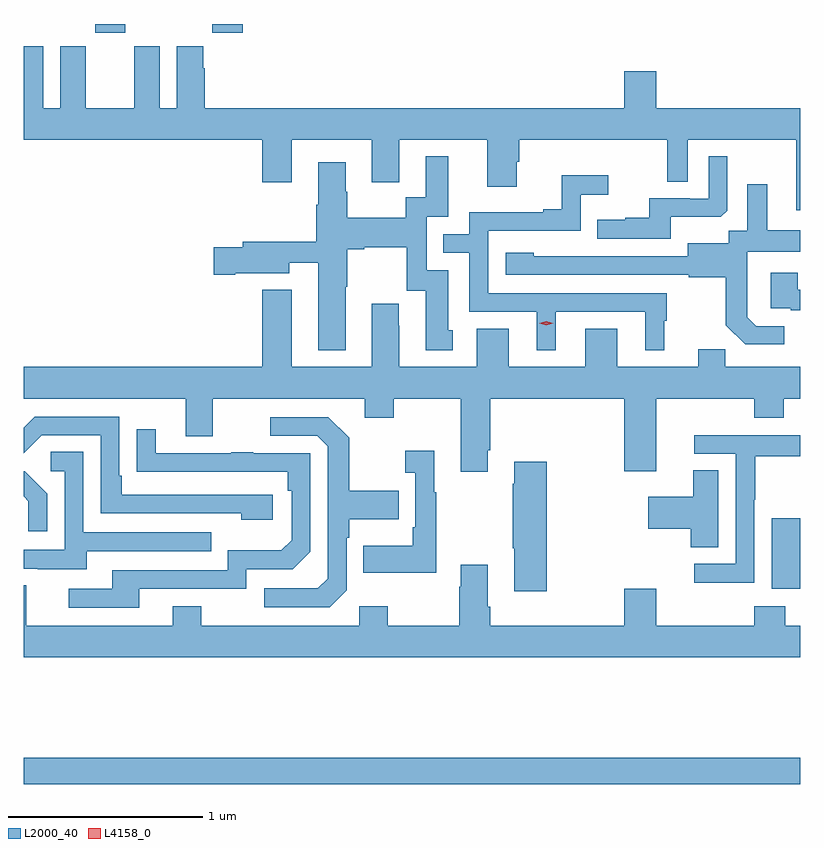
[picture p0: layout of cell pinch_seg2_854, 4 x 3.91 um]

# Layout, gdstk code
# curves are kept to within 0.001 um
import gdstk
lib = gdstk.Library(unit=1e-6, precision=1e-09)
def R(c, l, rs):  # rectangles x0, y0, x1, y1
    for r in rs: c.add(gdstk.rectangle(r[:2], r[2:], *l))
def P(c, l, *ps):  # polygons
    for p in ps: c.add(gdstk.Polygon(p, *l))
L2000_40 = (2000, 40)
L4158_0 = (4158, 0)

pinch_seg2_854 = lib.new_cell('pinch_seg2_854')
R(pinch_seg2_854, L2000_40, [(605.471,608.356,609.471,608.492), (609.323,609.362,609.471,609.723), (605.839,612.225,605.994,612.269), (606.443,612.225,606.599,612.269)])
P(pinch_seg2_854, L2000_40, [(605.471,612.154),(605.471,611.672),(606.701,611.672),(606.701,611.454),(606.853,611.454),(606.853,611.672),(607.265,611.672),(607.265,611.454),(607.405,611.454),(607.405,611.672),(607.859,611.672),(607.859,611.43),(608.011,611.43),(608.011,611.559),(608.024,611.559),(608.024,611.672),(608.784,611.672),(608.784,611.458),(608.892,611.458),(608.892,611.672),(609.449,611.672),(609.449,611.31),(609.471,611.31),(609.471,611.836),(608.728,611.836),(608.728,612.025),(608.564,612.025),(608.564,611.836),(606.404,611.836),(606.404,612.041),(606.397,612.041),(606.397,612.154),(606.26,612.154),(606.26,611.836),(606.172,611.836),(606.172,612.154),(606.041,612.154),(606.041,611.836),(605.791,611.836),(605.791,612.154),(605.66,612.154),(605.66,611.836),(605.572,611.836),(605.572,612.154)],
  [(608.803,611.276),(609.061,611.276),(609.093,611.307),(609.093,611.587),(609,611.587),(609,611.37),(608.9,611.37),(608.9,611.373),(608.693,611.373),(608.693,611.272),(608.569,611.272),(608.569,611.26),(608.425,611.26),(608.425,611.163),(608.803,611.163)],
  [(607.129,610.915),(607.137,610.915),(607.137,611.108),(607.225,611.108),(607.225,611.12),(607.445,611.12),(607.445,610.896),(607.541,610.896),(607.541,610.59),(607.681,610.59),(607.681,610.692),(607.657,610.692),(607.657,611.001),(607.548,611.001),(607.548,611.277),(607.657,611.277),(607.657,611.587),(607.541,611.587),(607.541,611.378),(607.44,611.378),(607.44,611.272),(607.137,611.272),(607.137,611.406),(607.129,611.406),(607.129,611.557),(606.989,611.557),(606.989,611.339),(606.977,611.339),(606.977,611.149),(606.599,611.149),(606.599,611.12),(606.45,611.12),(606.45,610.978),(606.562,610.978),(606.562,610.985),(606.838,610.985),(606.838,611.039),(606.989,611.039),(606.989,610.589),(607.129,610.589)],
  [(608.212,610.788),(608.672,610.788),(608.672,610.589),(608.77,610.589),(608.77,610.74),(608.782,610.74),(608.782,610.884),(607.863,610.884),(607.863,611.205),(608.34,611.205),(608.34,611.39),(608.482,611.39),(608.482,611.489),(608.242,611.489),(608.242,611.314),(608.147,611.314),(608.147,611.301),(607.767,611.301),(607.767,611.187),(607.633,611.187),(607.633,611.091),(607.767,611.091),(607.767,610.788),(608.114,610.788),(608.114,610.589),(608.212,610.589)],
  [(609.388,610.713),(609.243,610.713),(609.196,610.76),(609.196,610.855),(609.198,610.855),(609.198,611.096),(609.471,611.096),(609.471,611.206),(609.301,611.206),(609.301,611.443),(609.197,611.443),(609.197,611.204),(609.102,611.204),(609.102,611.14),(608.891,611.14),(608.891,611.073),(608.097,611.074),(608.097,611.092),(607.953,611.092),(607.953,610.977),(608.895,610.977),(608.895,610.965),(609.087,610.965),(609.087,610.719),(609.187,610.619),(609.388,610.619)],
  [(609.471,610.902),(609.457,610.902),(609.457,610.987),(609.317,610.987),(609.317,610.806),(609.421,610.806),(609.421,610.794),(609.471,610.794)],
  [(607.861,610.075),(607.874,610.075),(607.874,610.34),(608.564,610.34),(608.564,609.966),(608.728,609.966),(608.728,610.34),(609.233,610.34),(609.233,610.241),(609.385,610.241),(609.385,610.34),(609.471,610.34),(609.471,610.504),(609.083,610.504),(609.083,610.595),(608.945,610.595),(608.945,610.504),(608.527,610.504),(608.527,610.699),(608.363,610.699),(608.363,610.504),(607.969,610.504),(607.969,610.699),(607.805,610.699),(607.805,610.504),(607.405,610.504),(607.405,610.715),(607.402,610.715),(607.402,610.828),(607.265,610.828),(607.265,610.504),(606.853,610.504),(606.853,610.9),(606.701,610.9),(606.701,610.504),(605.471,610.504),(605.471,610.34),(606.305,610.34),(606.305,610.146),(606.445,610.146),(606.445,610.34),(607.229,610.34),(607.229,610.241),(607.377,610.241),(607.377,610.34),(607.721,610.34),(607.721,609.963),(607.861,609.963)],
  [(606.754,609.846),(605.977,609.846),(605.977,609.943),(605.964,609.943),(605.964,610.248),(605.529,610.248),(605.471,610.19),(605.471,610.058),(605.565,610.152),(605.868,610.152),(605.868,609.75),(606.593,609.75),(606.593,609.716),(606.754,609.716)],
  [(607.134,609.354),(607.134,609.623),(607.147,609.623),(607.147,609.719),(607.403,609.719),(607.403,609.867),(607.147,609.867),(607.147,610.139),(607.041,610.245),(606.741,610.245),(606.741,610.149),(606.984,610.149),(607.038,610.095),(607.038,609.414),(606.987,609.363),(606.711,609.363),(606.711,609.267),(607.047,609.267)],
  [(606.067,609.36),(606.618,609.36),(606.618,609.462),(606.858,609.462),(606.948,609.552),(606.948,610.059),(606.653,610.059),(606.653,610.064),(606.541,610.064),(606.541,610.059),(606.151,610.059),(606.151,610.183),(606.055,610.183),(606.055,609.964),(606.832,609.963),(606.832,609.866),(606.852,609.866),(606.852,609.612),(606.799,609.559),(606.522,609.559),(606.522,609.456),(605.927,609.456),(605.927,609.36),(605.703,609.36),(605.703,609.264),(606.067,609.264)],
  [(609.234,609.82),(609.237,609.82),(609.237,610.044),(609.471,610.044),(609.471,610.152),(608.925,610.152),(608.925,610.056),(609.138,610.056),(609.138,609.489),(608.925,609.489),(608.925,609.391),(609.234,609.391)],
  [(607.597,609.859),(607.585,609.859),(607.585,610.072),(607.437,610.072),(607.437,609.959),(607.488,609.959),(607.488,609.679),(607.476,609.679),(607.476,609.583),(607.219,609.583),(607.219,609.443),(607.597,609.443)],
  [(605.797,609.555),(606.437,609.555),(606.437,609.651),(605.778,609.651),(605.778,610.067),(605.61,610.067),(605.61,609.966),(605.682,609.966),(605.682,609.561),(605.471,609.561),(605.471,609.465),(605.543,609.465),(605.543,609.461),(605.797,609.461)],
  [(608.165,610.015),(607.997,610.015),(607.997,609.902),(607.99,609.902),(607.99,609.571),(607.997,609.571),(607.997,609.348),(608.165,609.348)],
  [(609.049,609.971),(608.918,609.971),(608.918,609.835),(608.688,609.835),(608.688,609.67),(608.906,609.67),(608.906,609.574),(609.049,609.574)],
  [(605.592,609.85),(605.476,609.966),(605.471,609.966),(605.471,609.837),(605.495,609.813),(605.495,609.657),(605.592,609.657)],
  [(609.471,609.172),(609.393,609.172),(609.393,609.271),(609.233,609.271),(609.233,609.172),(608.728,609.172),(608.728,609.361),(608.564,609.361),(608.564,609.172),(607.874,609.172),(607.874,609.268),(607.861,609.268),(607.861,609.484),(607.721,609.484),(607.721,609.371),(607.714,609.371),(607.714,609.172),(607.347,609.172),(607.347,609.271),(607.2,609.271),(607.2,609.172),(606.387,609.172),(606.387,609.271),(606.239,609.271),(606.239,609.172),(605.485,609.172),(605.485,609.38),(605.471,609.38),(605.471,609.008),(609.471,609.008)])
P(pinch_seg2_854, L4158_0, [(608.163,610.718),(608.127,610.727),(608.127,610.728),(608.127,610.728),(608.163,610.738),(608.199,610.728),(608.199,610.728),(608.199,610.727)])

lib.write_gds('pinch_seg2_854.gds')
